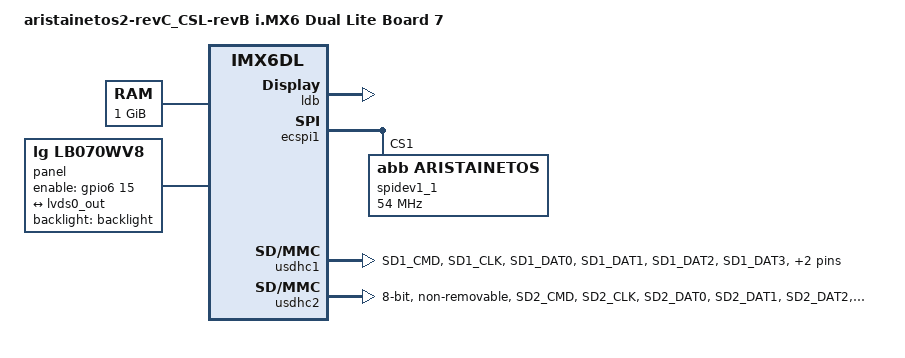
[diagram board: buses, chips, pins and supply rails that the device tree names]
// SPDX-License-Identifier: GPL-2.0 or X11
/*
 * support for the imx6 based aristainetos2-revC board on CSL carrier-revB
 *
 * Copyright (C) 2015..2021 Heiko Schocher <hs@denx.de>
 *
 */
/dts-v1/;
#include "imx6dl.dtsi"
#include "imx6qdl-aristainetos2c.dtsi"

/ {
	model = "aristainetos2-revC_CSL-revB i.MX6 Dual Lite Board 7";
	compatible = "abb,aristainetos2-imx6dl-7", "fsl,imx6dl";

	memory {
		reg = <0x10000000 0x40000000>;
	};

	panel: panel {
		compatible = "lg,lb070wv8";
		backlight = <&backlight>;
		enable-gpios = <&gpio6 15 GPIO_ACTIVE_HIGH>;

		port {
			panel_in: endpoint {
				remote-endpoint = <&lvds0_out>;
			};
		};
	};
};

&ldb {
	status = "okay";

	lvds-channel@0 {
		status = "okay";

		port@0 {
			reg = <0>;
			lvds0_in: endpoint {
				remote-endpoint = <&ipu1_di0_lvds0>;
			};
		};

		port@4 {
			reg = <4>;
			lvds0_out: endpoint {
				remote-endpoint = <&panel_in>;
			};
		};
	};
};

&ecspi1 {
	spidev1_1: spi@1 {
		compatible = "abb,aristainetos";
		reg = <1>;
		spi-max-frequency = <54000000>;
	};
};

&usdhc1 {
	pinctrl-names = "default";
	pinctrl-0 = <&pinctrl_usdhc1>;
	cd-gpios = <&gpio1 27 GPIO_ACTIVE_LOW>;
	status = "okay";
};

&usdhc2 {
	pinctrl-names = "default";
	pinctrl-0 = <&pinctrl_usdhc2>;
	bus-width = <8>;
	no-1-8-v;
	non-removable;
	status = "okay";
};

&iomuxc {
	pinctrl_usdhc1: usdhc1grp {
		fsl,pins = <
			MX6QDL_PAD_SD1_CMD__SD1_CMD    0x17059
			MX6QDL_PAD_SD1_CLK__SD1_CLK    0x10059
			MX6QDL_PAD_SD1_DAT0__SD1_DATA0 0x17059
			MX6QDL_PAD_SD1_DAT1__SD1_DATA1 0x17059
			MX6QDL_PAD_SD1_DAT2__SD1_DATA2 0x17059
			MX6QDL_PAD_SD1_DAT3__SD1_DATA3 0x17059
			MX6QDL_PAD_ENET_RXD0__GPIO1_IO27	0x1b0b0 /* SD1 card detect input */
		>;
	};

	pinctrl_usdhc2: usdhc2grp {
		fsl,pins = <
			MX6QDL_PAD_SD2_CMD__SD2_CMD		0x17059
			MX6QDL_PAD_SD2_CLK__SD2_CLK		0x10059
			MX6QDL_PAD_SD2_DAT0__SD2_DATA0		0x17059
			MX6QDL_PAD_SD2_DAT1__SD2_DATA1		0x17059
			MX6QDL_PAD_SD2_DAT2__SD2_DATA2		0x17059
			MX6QDL_PAD_SD2_DAT3__SD2_DATA3		0x17059
			MX6QDL_PAD_NANDF_D4__SD2_DATA4		0x17059
			MX6QDL_PAD_NANDF_D5__SD2_DATA5		0x17059
			MX6QDL_PAD_NANDF_D6__SD2_DATA6		0x17059
			MX6QDL_PAD_NANDF_D7__SD2_DATA7		0x17059
		>;
	};
};
